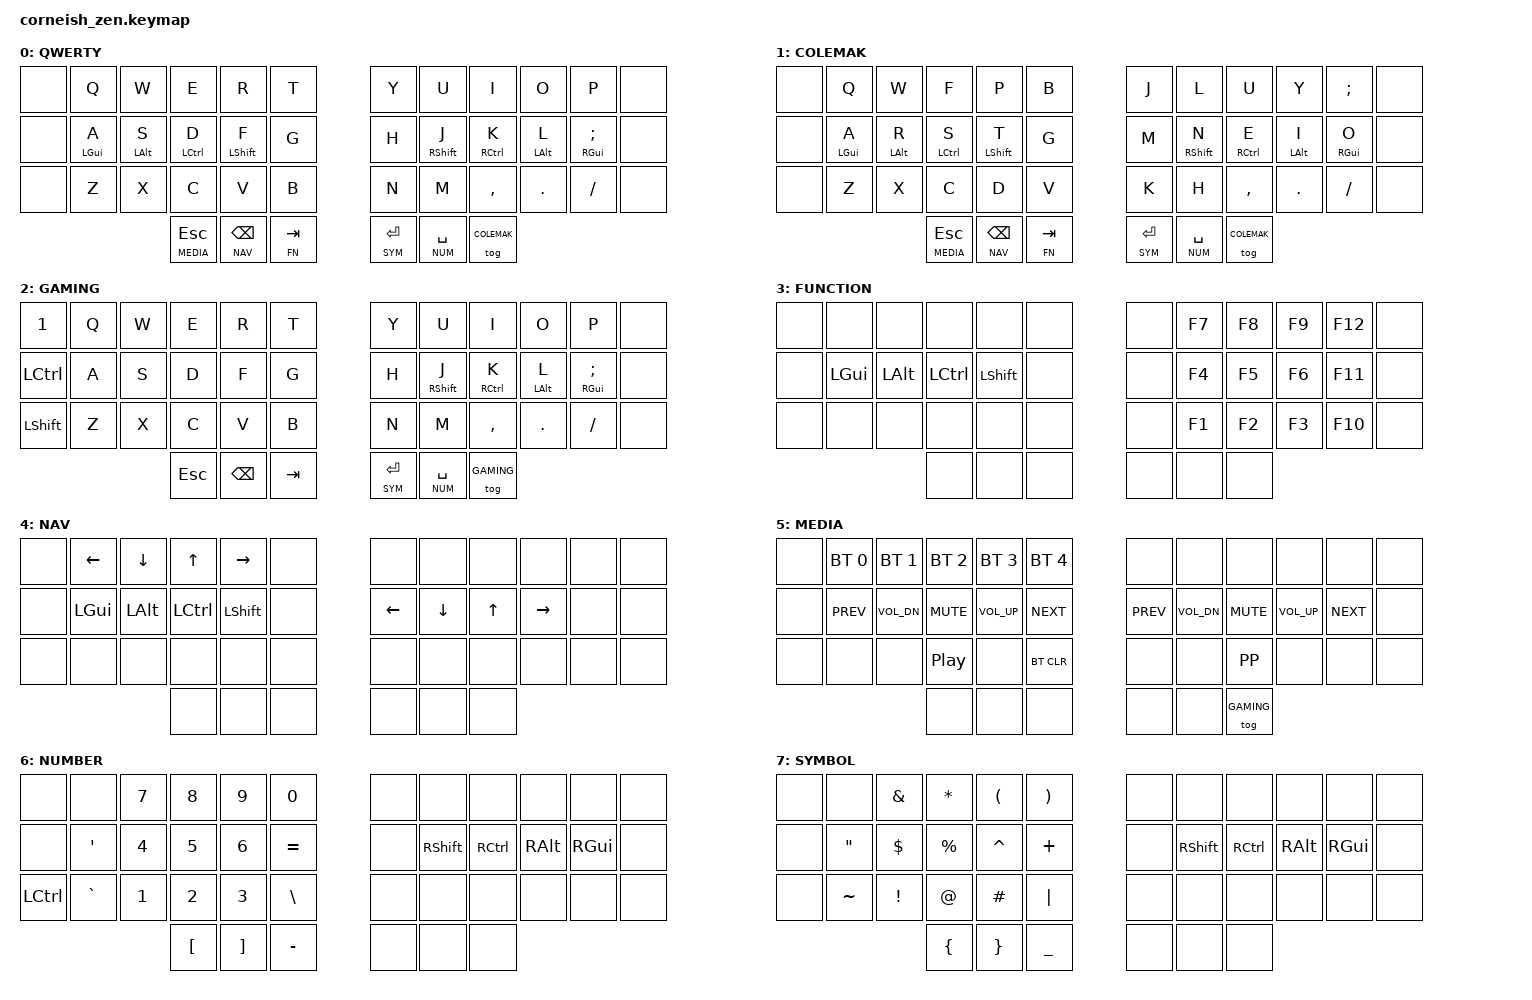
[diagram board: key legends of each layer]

#include <behaviors.dtsi>
#include <dt-bindings/zmk/keys.h>
#include <dt-bindings/zmk/bt.h>

/ {
    chosen {
        zmk,matrix_transform = &default_transform;
        // zmk,matrix_transform = &five_column_transform;
    };
};

#define QWERTY 0
#define COLEMAK 1
#define GAMING 2
#define FN 3
#define NAV 4
#define MEDIA 5
#define NUM 6
#define SYM 7
// .
&mt {
        flavor = "tap-preferred";
        tapping-term-ms = <200>;
};
/ {
        keymap {
                compatible = "zmk,keymap";

                default_layer {
                    label = "QWERTY";
                        bindings = <
   &none &kp Q        &kp W           &kp E           &kp R           &kp T           &kp Y   &kp U           &kp I           &kp O           &kp P             &none   
   &none &mt LGUI A   &mt LALT S      &mt LCTRL D     &mt LSHFT F     &kp G           &kp H   &mt RSHFT J     &mt RCTRL K     &mt LALT L      &mt RGUI SEMI     &none
   &none &kp Z        &kp X           &kp C           &kp V           &kp B           &kp N   &kp M           &kp COMMA       &kp DOT         &kp FSLH          &none
                        &lt MEDIA ESC  &lt NAV BSPC &lt FN TAB                                      &lt SYM RET &lt NUM SPACE &tog COLEMAK
                        >;
                };
                colemak_layer {
                    label = "COLEMAK";
                        bindings = <
   &none &kp Q        &kp W           &kp F           &kp P           &kp B           &kp J   &kp L           &kp U           &kp Y           &kp SEMI          &none   
   &none &mt LGUI A   &mt LALT R      &mt LCTRL S     &mt LSHFT T     &kp G           &kp M   &mt RSHFT N     &mt RCTRL E     &mt LALT I      &mt RGUI O        &none
   &none &kp Z        &kp X           &kp C           &kp D           &kp V           &kp K   &kp H           &kp COMMA       &kp DOT         &kp FSLH          &none
                        &lt MEDIA ESC  &lt NAV BSPC &lt FN TAB                                      &lt SYM RET &lt NUM SPACE &tog COLEMAK
                        >;
                };
                gaming_layer {
                    label = "GAMING";
                        bindings = <
   &kp N1       &kp Q        &kp W           &kp E           &kp R           &kp T           &kp Y   &kp U           &kp I           &kp O           &kp P             &none   
   &kp LCTRL    &kp A        &kp S           &kp D           &kp F           &kp G           &kp H   &mt RSHFT J     &mt RCTRL K     &mt LALT L      &mt RGUI SEMI     &none
   &kp LSHFT    &kp Z        &kp X           &kp C           &kp V           &kp B           &kp N   &kp M           &kp COMMA       &kp DOT         &kp FSLH          &none
                &kp ESC  &kp BSPC &kp TAB                                                    &lt SYM RET &lt NUM SPACE &tog GAMING
                        >;
                };

                function_layer {
                    label = "FUNCTION";
                        bindings = <
   &none &none    &none       &none       &none       &none                           &none         &kp F7   &kp F8          &kp F9          &kp F12            &none    
   &none &kp LGUI &kp LALT    &kp LCTRL   &kp LSHFT   &none                           &none         &kp F4   &kp F5          &kp F6          &kp F11            &none
   &none &none    &none       &none       &none       &none                           &none         &kp F1   &kp F2          &kp F3          &kp F10            &none
                &none     &none       &none                                                   &none     &none   &none
                        >;
                };

                navigation_layer {
                    label = "NAV";
                        bindings = <
   &none &kp LEFT &kp DOWN    &kp UP      &kp RIGHT   &none                           &none         &none     &none           &none          &none              &none
   &none &kp LGUI &kp LALT    &kp LCTRL   &kp LSHFT   &none                           &kp LEFT      &kp DOWN  &kp UP          &kp RIGHT      &none              &none
   &none &none    &none       &none       &none       &none                           &none         &none     &none           &none          &none              &none
                &none     &none       &none                                                   &none     &none   &none
                        >;
                };

                media_layer {
                    label = "MEDIA";
                        bindings = <
   &none      &bt BT_SEL 0     &bt BT_SEL 1     &bt BT_SEL 2     &bt BT_SEL 3     &bt BT_SEL 4                    &none        &none               &none       &none           &none        &none    
   &none      &kp C_PREV       &kp C_VOL_DN     &kp C_MUTE       &kp C_VOL_UP     &kp C_NEXT                      &kp K_PREV   &kp K_VOL_DN        &kp K_MUTE  &kp K_VOL_UP    &kp K_NEXT   &none
   &none      &none            &none            &kp C_PP         &none            &bt BT_CLR                           &none        &none               &kp K_PP    &none           &none        &none
                                &none     &none       &none                                                &none     &none    &tog GAMING
                        >;
                };

                number_layer {
                    label = "NUMBER";
                        bindings = <
   &none     &none        &kp N7      &kp N8          &kp N9          &kp N0                           &none      &none           &none       &none           &none         &none
   &none     &kp APOS     &kp N4      &kp N5          &kp N6          &kp EQUAL                        &none      &kp RSHFT       &kp RCTRL   &kp RALT        &kp RGUI      &none
   &kp LCTRL &kp GRAVE    &kp N1      &kp N2          &kp N3          &kp BSLH                         &none      &none           &none       &none           &none         &none
                &kp LBKT    &kp RBKT        &kp MINUS                                                   &none     &none   &none
                        >;
                };

                symbol_layer {
                    label = "SYMBOL";
                        bindings = <
   &none &none        &kp AMPS      &kp STAR        &kp LPAR          &kp RPAR                      &none      &none           &none       &none           &none        &none
   &none &kp DQT      &kp DLLR      &kp PRCNT       &kp CARET         &kp PLUS                      &none      &kp RSHFT       &kp RCTRL   &kp RALT        &kp RGUI     &none
   &none &kp TILDE    &kp EXCL      &kp AT          &kp POUND         &kp PIPE                      &none      &none           &none       &none           &none        &none
                &kp LBRC      &kp RBRC        &kp UNDER                                                  &none           &none       &none
                        >;
                };


        };
};
